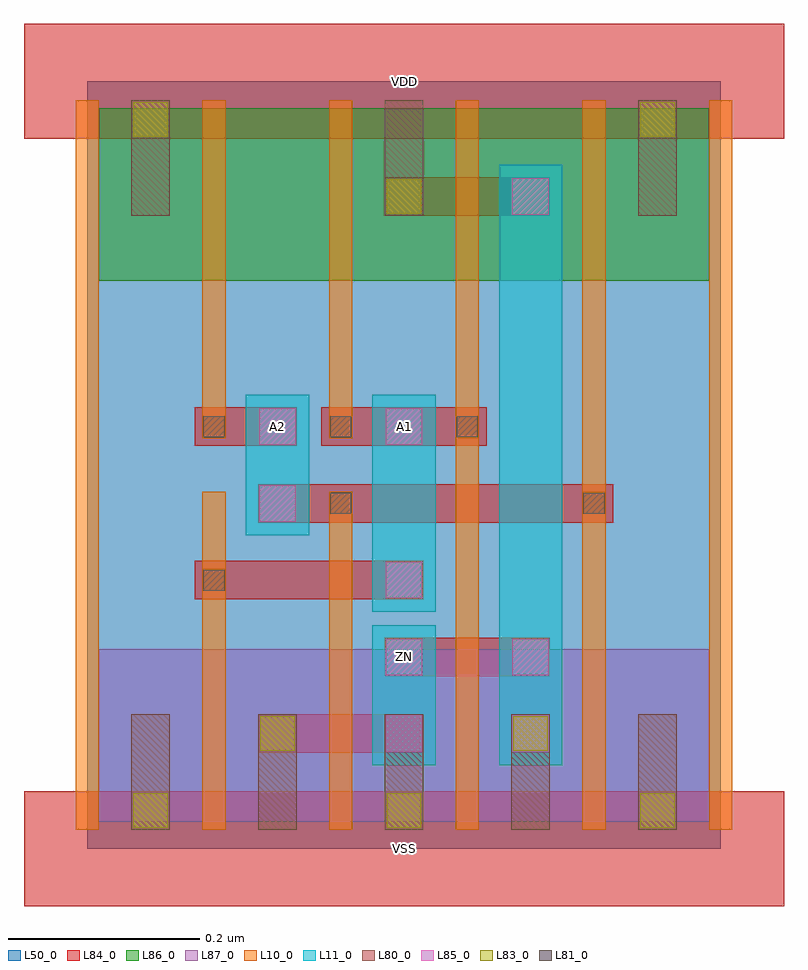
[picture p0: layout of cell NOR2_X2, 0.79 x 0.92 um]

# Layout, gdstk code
import gdstk
lib = gdstk.Library(unit=1e-6, precision=1e-09)
def R(c, l, rs):  # rectangles x0, y0, x1, y1
    for r in rs: c.add(gdstk.rectangle(r[:2], r[2:], *l))
def A(c, l, x, y, w, h, nx, ny, dx, dy):  # array of equal rectangles
    R(c, l, [(x+i*dx, y+j*dy, x+i*dx+w, y+j*dy+h) for i in range(nx) for j in range(ny)])
L10_0 = (10, 0)
L11_0 = (11, 0)
L50_0 = (50, 0)
L80_0 = (80, 0)
L81_0 = (81, 0)
L83_0 = (83, 0)
L84_0 = (84, 0)
L85_0 = (85, 0)
L86_0 = (86, 0)
L87_0 = (87, 0)

nor2_x2 = lib.new_cell('NOR2_X2')
A(nor2_x2, L10_0, 0.384, 0.02, 0.024, 0.76, 3, 1, 0.132, 0)
R(nor2_x2, L10_0, [(-0.012,0.02,0.012,0.78), (0.12,0.02,0.144,0.372), (0.252,0.02,0.276,0.372), (0.12,0.428,0.144,0.78), (0.252,0.428,0.276,0.78)])
R(nor2_x2, L11_0, [(0.297,0.087,0.363,0.233), (0.429,0.087,0.495,0.713), (0.297,0.247,0.363,0.473), (0.165,0.327,0.231,0.473)])
R(nor2_x2, L50_0, [(0,0,0.66,0.8)])
A(nor2_x2, L80_0, 0.046, 0.02, 0.04, 0.12, 5, 1, 0.132, 0)
A(nor2_x2, L80_0, 0.046, 0.66, 0.04, 0.12, 3, 1, 0.264, 0)
A(nor2_x2, L81_0, 0.121, 0.429, 0.022, 0.022, 3, 1, 0.132, 0)
R(nor2_x2, L81_0, [(0.121,0.269,0.143,0.291), (0.253,0.349,0.275,0.371), (0.517,0.349,0.539,0.371)])
A(nor2_x2, L83_0, 0.048, 0.022, 0.036, 0.036, 3, 1, 0.264, 0)
R(nor2_x2, L83_0, [(0.18,0.102,0.216,0.138), (0.444,0.102,0.48,0.138), (0.312,0.662,0.348,0.698), (0.048,0.742,0.084,0.778), (0.576,0.742,0.612,0.778)])
R(nor2_x2, L84_0, [(-0.066,-0.06,0.726,0.06), (0.178,0.1,0.35,0.14), (0.442,0.1,0.482,0.14), (0.31,0.18,0.482,0.22), (0.112,0.26,0.35,0.3), (0.178,0.34,0.548,0.38), (0.112,0.42,0.218,0.46), (0.244,0.42,0.416,0.46), (0.31,0.66,0.482,0.7), (-0.066,0.74,0.726,0.86)])
A(nor2_x2, L85_0, 0.311, 0.101, 0.038, 0.038, 1, 3, 0, 0.08)
R(nor2_x2, L85_0, [(0.443,0.101,0.481,0.139), (0.443,0.181,0.481,0.219), (0.179,0.341,0.217,0.379), (0.179,0.421,0.217,0.459), (0.311,0.421,0.349,0.459), (0.443,0.661,0.481,0.699)])
R(nor2_x2, L86_0, [(0.012,0.592,0.648,0.772)])
R(nor2_x2, L87_0, [(0.012,0.028,0.648,0.208)])
nor2_x2.add(gdstk.Label('VDD', (0.33,0.8), layer=88, texttype=0))
nor2_x2.add(gdstk.Label('VSS', (0.33,0), layer=88, texttype=0))
nor2_x2.add(gdstk.Label('A2', (0.198,0.44), layer=31, texttype=0))
nor2_x2.add(gdstk.Label('A1', (0.33,0.44), layer=31, texttype=0))
nor2_x2.add(gdstk.Label('ZN', (0.33,0.2), layer=31, texttype=0))

lib.write_gds('NOR2_X2.gds')
